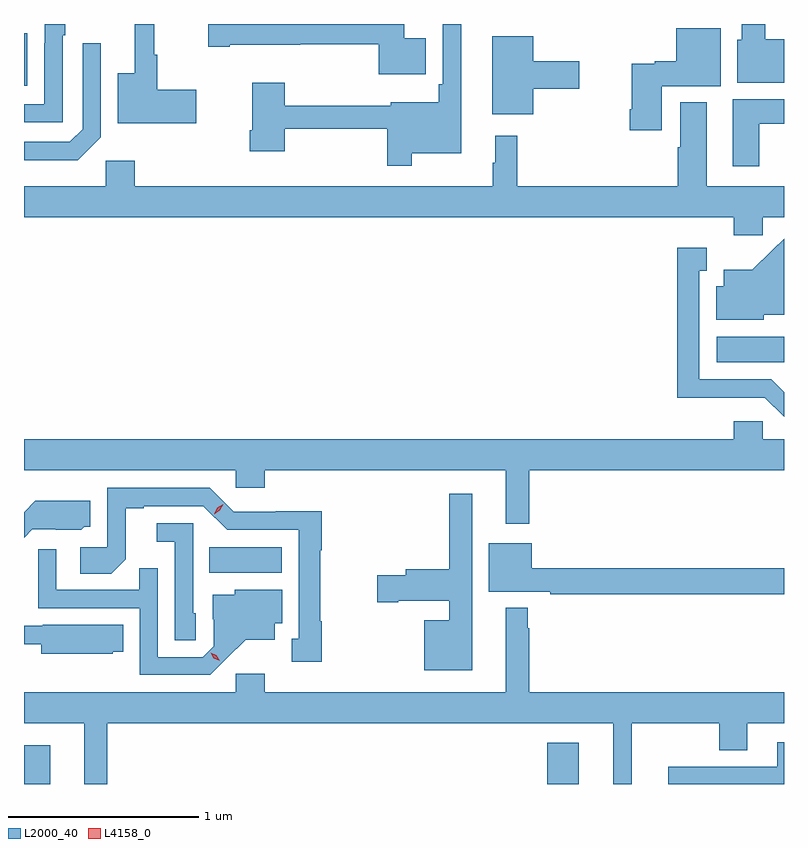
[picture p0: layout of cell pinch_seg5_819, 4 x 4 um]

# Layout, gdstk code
import gdstk
lib = gdstk.Library(unit=1e-6, precision=1e-09)
def R(c, l, rs):  # rectangles x0, y0, x1, y1
    for r in rs: c.add(gdstk.rectangle(r[:2], r[2:], *l))
def P(c, l, *ps):  # polygons
    for p in ps: c.add(gdstk.Polygon(p, *l))
L2000_40 = (2000, 40)
L4158_0 = (4158, 0)

pinch_seg5_819 = lib.new_cell('pinch_seg5_819')
R(pinch_seg5_819, L2000_40, [(769.759,889.741,769.897,889.945), (772.514,889.741,772.678,889.957), (770.734,890.852,771.115,890.986), (773.406,891.962,773.759,892.096), (769.759,893.417,769.777,893.692)])
P(pinch_seg5_819, L2000_40, [(773.759,893.662),(773.659,893.662),(773.659,893.741),(773.537,893.741),(773.537,893.658),(773.513,893.658),(773.513,893.432),(773.759,893.432)],
  [(769.962,893.681),(769.977,893.681),(769.977,893.741),(769.867,893.741),(769.869,893.739),(769.869,893.639),(769.866,893.639),(769.866,893.319),(769.759,893.319),(769.759,893.223),(769.962,893.223)],
  [(770.665,893.396),(770.459,893.396),(770.459,893.579),(770.444,893.579),(770.444,893.741),(770.342,893.741),(770.342,893.482),(770.252,893.482),(770.252,893.218),(770.665,893.218)],
  [(771.874,893.665),(771.76,893.665),(771.76,893.741),(770.73,893.741),(770.73,893.621),(770.842,893.621),(770.842,893.633),(771.214,893.633),(771.214,893.634),(771.626,893.634),(771.626,893.477),(771.874,893.477)],
  [(771.799,893.06),(772.06,893.06),(772.06,893.741),(771.963,893.741),(771.963,893.425),(771.943,893.425),(771.943,893.329),(771.689,893.329),(771.689,893.311),(771.131,893.311),(771.131,893.431),(770.96,893.431),(770.96,893.182),(770.948,893.182),(770.948,893.07),(771.131,893.07),(771.131,893.19),(771.67,893.19),(771.67,892.995),(771.799,892.995)],
  [(773.116,893.414),(773.425,893.414),(773.425,893.719),(773.192,893.719),(773.192,893.546),(773.079,893.546),(773.079,893.533),(772.958,893.533),(772.958,893.293),(772.946,893.293),(772.946,893.181),(773.116,893.181)],
  [(772.438,893.399),(772.681,893.399),(772.681,893.546),(772.438,893.546),(772.438,893.677),(772.223,893.677),(772.223,893.267),(772.438,893.267)],
  [(770.163,893.145),(770.163,893.641),(770.067,893.641),(770.067,893.187),(770.001,893.121),(769.759,893.121),(769.759,893.024),(770.042,893.024)],
  [(773.629,893.216),(773.759,893.216),(773.759,893.344),(773.489,893.344),(773.489,892.992),(773.629,892.992)],
  [(773.646,892.724),(773.759,892.724),(773.759,892.888),(773.353,892.888),(773.353,893.329),(773.213,893.329),(773.213,893.093),(773.201,893.093),(773.201,892.888),(772.355,892.888),(772.355,893.152),(772.238,893.152),(772.238,893.012),(772.227,893.012),(772.227,892.888),(770.342,892.888),(770.342,893.02),(770.19,893.02),(770.19,892.888),(769.759,892.888),(769.759,892.724),(773.495,892.724),(773.495,892.629),(773.646,892.629)],
  [(773.652,892.211),(773.759,892.211),(773.759,892.611),(773.696,892.549),(773.593,892.447),(773.441,892.447),(773.441,892.36),(773.402,892.36),(773.402,892.184),(773.652,892.184)],
  [(773.759,891.802),(773.691,891.87),(773.314,891.87),(773.314,892.443),(773.353,892.443),(773.353,892.564),(773.196,892.564),(773.196,891.773),(773.436,891.773),(773.436,891.774),(773.658,891.774),(773.759,891.673)],
  [(772.417,891.392),(773.759,891.392),(773.759,891.556),(773.646,891.556),(773.646,891.649),(773.495,891.649),(773.495,891.556),(769.759,891.556),(769.759,891.392),(770.874,891.392),(770.874,891.299),(771.026,891.299),(771.026,891.392),(772.295,891.392),(772.295,891.111),(772.417,891.111)],
  [(771.325,890.597),(771.317,890.597),(771.317,890.971),(771.325,890.971),(771.325,891.176),(771.084,891.176),(771.084,891.174),(770.862,891.174),(770.736,891.3),(770.196,891.3),(770.196,890.988),(770.055,890.988),(770.055,890.848),(770.219,890.848),(770.295,890.924),(770.295,891.192),(770.389,891.192),(770.389,891.204),(770.703,891.204),(770.829,891.078),(771.206,891.078),(771.206,890.505),(771.167,890.505),(771.167,890.385),(771.325,890.385)],
  [(772.117,891.268),(771.996,891.268),(771.996,890.87),(771.767,890.87),(771.767,890.84),(771.618,890.84),(771.618,890.698),(771.73,890.698),(771.73,890.705),(771.996,890.705),(771.996,890.602),(771.866,890.602),(771.866,890.339),(772.117,890.339)],
  [(769.803,891.081),(769.926,891.081),(769.926,891.08),(770.06,891.08),(770.076,891.096),(770.107,891.096),(770.107,891.232),(769.819,891.232),(769.759,891.171),(769.759,891.037)],
  [(770.664,890.64),(770.649,890.64),(770.649,891.114),(770.457,891.114),(770.457,891.017),(770.553,891.017),(770.553,890.497),(770.664,890.497)],
  [(773.759,890.876),(772.432,890.876),(772.432,891.007),(772.205,891.007),(772.205,890.753),(772.528,890.753),(772.528,890.74),(773.759,890.74)],
  [(770.824,890.399),(770.927,890.501),(771.079,890.501),(771.079,890.588),(771.118,890.588),(771.118,890.764),(770.868,890.764),(770.868,890.737),(770.753,890.737),(770.753,890.608),(770.757,890.608),(770.757,890.466),(770.7,890.409),(770.463,890.409),(770.463,890.876),(770.365,890.876),(770.365,890.763),(769.929,890.763),(769.929,890.977),(769.833,890.977),(769.833,890.667),(770.367,890.667),(770.367,890.316),(770.74,890.316)],
  [(770.197,890.06),(772.859,890.06),(772.859,889.741),(772.958,889.741),(772.958,890.06),(773.419,890.06),(773.419,889.918),(773.566,889.918),(773.566,890.06),(773.759,890.06),(773.759,890.224),(772.417,890.224),(772.417,890.561),(772.41,890.561),(772.41,890.668),(772.295,890.668),(772.295,890.224),(771.026,890.224),(771.026,890.32),(770.874,890.32),(770.874,890.224),(769.759,890.224),(769.759,890.06),(770.075,890.06),(770.075,889.741),(770.197,889.741)],
  [(770.226,890.438),(770.282,890.438),(770.282,890.578),(769.858,890.578),(769.858,890.574),(769.759,890.574),(769.759,890.477),(769.85,890.477),(769.85,890.426),(770.226,890.426)],
  [(773.759,889.96),(773.723,889.96),(773.723,889.833),(773.15,889.833),(773.15,889.741),(773.759,889.741)])
P(pinch_seg5_819, L4158_0, [(770.759,891.162),(770.759,891.162),(770.776,891.195),(770.807,891.214),(770.808,891.214),(770.808,891.214),(770.79,891.181),(770.759,891.162)],
  [(770.789,890.389),(770.758,890.403),(770.741,890.433),(770.741,890.433),(770.741,890.433),(770.772,890.418),(770.789,890.389),(770.789,890.389)])

lib.write_gds('pinch_seg5_819.gds')
